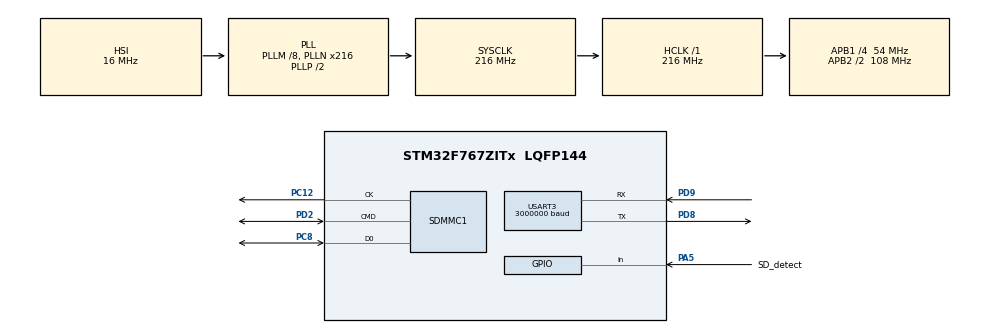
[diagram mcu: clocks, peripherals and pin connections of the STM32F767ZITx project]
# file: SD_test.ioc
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FATFS.BSP.number=1
FATFS0.BSP.STBoard=false
FATFS0.BSP.api=Unknown
FATFS0.BSP.i2caddr=0
FATFS0.BSP.instance=PA5
FATFS0.BSP.ip=GPIO
FATFS0.BSP.mode=Input
FATFS0.BSP.name=Detect_SDIO
FATFS0.BSP.solution=PA5
Mcu.Family=STM32F7
Mcu.Name=STM32F767ZITx
Mcu.Package=LQFP144
NVIC.PriorityGroup=NVIC_PRIORITYGROUP_4
NVIC.SDMMC1_IRQn=true\:0\:0\:false\:true\:true\:1\:true\:true
NVIC.USART3_IRQn=true\:0\:0\:false\:true\:true\:2\:true\:true
PA5.GPIO_Label=SD_detect
PA5.Signal=GPIO_Input
PC12.Mode=SD_1_bit
PC12.Signal=SDMMC1_CK
PC8.Mode=SD_1_bit
PC8.Signal=SDMMC1_D0
PD2.Mode=SD_1_bit
PD2.Signal=SDMMC1_CMD
PD8.Mode=Asynchronous
PD8.Signal=USART3_TX
PD9.Mode=Asynchronous
PD9.Signal=USART3_RX
ProjectManager.HeapSize=0x200
ProjectManager.StackSize=0x400
ProjectManager.TargetToolchain=Makefile
RCC.AHBFreq_Value=216000000
RCC.APB1CLKDivider=RCC_HCLK_DIV4
RCC.APB1Freq_Value=54000000
RCC.APB1TimFreq_Value=108000000
RCC.APB2CLKDivider=RCC_HCLK_DIV2
RCC.APB2Freq_Value=108000000
RCC.APB2TimFreq_Value=216000000
RCC.CortexFreq_Value=216000000
RCC.HCLKFreq_Value=216000000
RCC.HSE_VALUE=25000000
RCC.HSI_VALUE=16000000
RCC.LSE_VALUE=32768
RCC.PLLM=8
RCC.PLLN=216
RCC.PLLQ=9
RCC.SDMMCClockSelection=RCC_SDMMC1CLKSOURCE_CLK48
RCC.SYSCLKFreq_VALUE=216000000
RCC.SYSCLKSource=RCC_SYSCLKSOURCE_PLLCLK
RCC.USBFreq_Value=48000000
RCC.VCOOutputFreq_Value=432000000
SDMMC1.ClockDiv=1
USART3.BaudRate=3000000
USART3.VirtualMode-Asynchronous=VM_ASYNC
VP_FATFS_VS_SDIO.Mode=SDIO
board=custom

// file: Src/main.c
/* USER CODE BEGIN Header */
/**
  ******************************************************************************
  * @file           : main.c
  * @brief          : Main program body
  ******************************************************************************
  * @attention
  *
  * <h2><center>&copy; Copyright (c) 2019 STMicroelectronics.
  * All rights reserved.</center></h2>
  *
  * This software component is licensed by ST under Ultimate Liberty license
  * SLA0044, the "License"; You may not use this file except in compliance with
  * the License. You may obtain a copy of the License at:
  *                             www.st.com/SLA0044
  *
  ******************************************************************************
  */
/* USER CODE END Header */

#include "main.h"
#include "fatfs.h"

/* USER CODE BEGIN Includes */
#include "string.h"
#include "stdio.h"
/* USER CODE END Includes */

SD_HandleTypeDef hsd1;

UART_HandleTypeDef huart3;

/* USER CODE BEGIN PV */
#define MAX_DEBUG_RX_L 20
#define MAX_DEBUG_TX_L 500
char debug_rx[MAX_DEBUG_RX_L], debug_tx[MAX_DEBUG_TX_L];
uint8_t debug_rx_count = 0, debug_msg_arrived = 0;
uint8_t imu_connected = 0, its0_connected = 0, its1_connected = 0, its2_connected = 0, its3_connected = 0;
enum state_t{STATE_INIT, STATE_IDLE, STATE_CALIB, STATE_SETUP, STATE_RUN}current_state;
FIL loggingFile;
FIL log_names_f;

TCHAR message[256];
char filename[256] = "abcabc.txt";
char filename_1[256]="log_names.txt";
char txt[1000];

int max_files = 100;
int byteswritten;
int mount_ok = 0;
int msg_counter = 0;
int msg_index = 0;

char buffer[256]="Starting Antenna Logging\r\n";
int bytes_read;

char *pointer;
char log_names[356];

FRESULT res_open;
FRESULT res_mount;

int successfull_opening = 0;
/* USER CODE END PV */

void SystemClock_Config(void);
static void MX_GPIO_Init(void);
static void MX_SDMMC1_SD_Init(void);
static void MX_USART3_UART_Init(void);
static void MX_NVIC_Init(void);
/* USER CODE BEGIN PFP */
void init_sd();
void debug_operations();
/* USER CODE END PFP */

int main(void)
{

  /* MCU Configuration--------------------------------------------------------*/

  /* Reset of all peripherals, Initializes the Flash interface and the Systick. */
  HAL_Init();

  /* Configure the system clock */
  SystemClock_Config();

  /* Initialize all configured peripherals */
  MX_GPIO_Init();
  MX_SDMMC1_SD_Init();
  MX_USART3_UART_Init();
  MX_FATFS_Init();

  /* Initialize interrupts */
  MX_NVIC_Init();
  /* USER CODE BEGIN 2 */
  HAL_UART_Transmit(&huart3,(uint8_t*)"Program started\r\n",strlen("Program started\r\n"),10);
  res_mount = f_mount(&SDFatFS, (TCHAR const*)SDPath, 0);
	HAL_Delay(10);

	while(successfull_opening != 1){
		init_sd();
	}
  HAL_UART_Receive_IT(&huart3,(uint8_t*) &debug_rx[debug_rx_count], 1); //activate rx interrupt for debug
  current_state = STATE_INIT;
  /* USER CODE END 2 */

  /* Infinite loop */
  /* USER CODE BEGIN WHILE */
  //----------------------------------------------------------------------------------------------------------------------------------------------------------
  //----------------------------------------------------------------------------------------------------------------------------------------------------------
  //----------------------------------------------------------------------------------------------------------------------------------------------------------
  while (1)
  {
    if(debug_msg_arrived == 1){
      debug_msg_arrived = 0; // reset flag
      debug_operations();
    }
    /* USER CODE END WHILE */

  }
}

void SystemClock_Config(void)
{
  RCC_OscInitTypeDef RCC_OscInitStruct = {0};
  RCC_ClkInitTypeDef RCC_ClkInitStruct = {0};
  RCC_PeriphCLKInitTypeDef PeriphClkInitStruct = {0};

  /** Configure the main internal regulator output voltage
  */
  __HAL_RCC_PWR_CLK_ENABLE();
  __HAL_PWR_VOLTAGESCALING_CONFIG(PWR_REGULATOR_VOLTAGE_SCALE1);
  /** Initializes the CPU, AHB and APB busses clocks
  */
  RCC_OscInitStruct.OscillatorType = RCC_OSCILLATORTYPE_HSI;
  RCC_OscInitStruct.HSIState = RCC_HSI_ON;
  RCC_OscInitStruct.HSICalibrationValue = RCC_HSICALIBRATION_DEFAULT;
  RCC_OscInitStruct.PLL.PLLState = RCC_PLL_ON;
  RCC_OscInitStruct.PLL.PLLSource = RCC_PLLSOURCE_HSI;
  RCC_OscInitStruct.PLL.PLLM = 8;
  RCC_OscInitStruct.PLL.PLLN = 216;
  RCC_OscInitStruct.PLL.PLLP = RCC_PLLP_DIV2;
  RCC_OscInitStruct.PLL.PLLQ = 9;
  if (HAL_RCC_OscConfig(&RCC_OscInitStruct) != HAL_OK)
  {
    Error_Handler();
  }
  /** Activate the Over-Drive mode
  */
  if (HAL_PWREx_EnableOverDrive() != HAL_OK)
  {
    Error_Handler();
  }
  /** Initializes the CPU, AHB and APB busses clocks
  */
  RCC_ClkInitStruct.ClockType = RCC_CLOCKTYPE_HCLK|RCC_CLOCKTYPE_SYSCLK
                              |RCC_CLOCKTYPE_PCLK1|RCC_CLOCKTYPE_PCLK2;
  RCC_ClkInitStruct.SYSCLKSource = RCC_SYSCLKSOURCE_PLLCLK;
  RCC_ClkInitStruct.AHBCLKDivider = RCC_SYSCLK_DIV1;
  RCC_ClkInitStruct.APB1CLKDivider = RCC_HCLK_DIV4;
  RCC_ClkInitStruct.APB2CLKDivider = RCC_HCLK_DIV2;

  if (HAL_RCC_ClockConfig(&RCC_ClkInitStruct, FLASH_LATENCY_7) != HAL_OK)
  {
    Error_Handler();
  }
  PeriphClkInitStruct.PeriphClockSelection = RCC_PERIPHCLK_USART3|RCC_PERIPHCLK_SDMMC1
                              |RCC_PERIPHCLK_CLK48;
  PeriphClkInitStruct.Usart3ClockSelection = RCC_USART3CLKSOURCE_PCLK1;
  PeriphClkInitStruct.Clk48ClockSelection = RCC_CLK48SOURCE_PLL;
  PeriphClkInitStruct.Sdmmc1ClockSelection = RCC_SDMMC1CLKSOURCE_CLK48;
  if (HAL_RCCEx_PeriphCLKConfig(&PeriphClkInitStruct) != HAL_OK)
  {
    Error_Handler();
  }
}

/**
  * @brief NVIC Configuration.
  * @retval None
  */
static void MX_NVIC_Init(void)
{
  /* SDMMC1_IRQn interrupt configuration */
  HAL_NVIC_SetPriority(SDMMC1_IRQn, 0, 0);
  HAL_NVIC_EnableIRQ(SDMMC1_IRQn);
  /* USART3_IRQn interrupt configuration */
  HAL_NVIC_SetPriority(USART3_IRQn, 0, 0);
  HAL_NVIC_EnableIRQ(USART3_IRQn);
}

static void MX_SDMMC1_SD_Init(void)
{

  hsd1.Instance = SDMMC1;
  hsd1.Init.ClockEdge = SDMMC_CLOCK_EDGE_RISING;
  hsd1.Init.ClockBypass = SDMMC_CLOCK_BYPASS_DISABLE;
  hsd1.Init.ClockPowerSave = SDMMC_CLOCK_POWER_SAVE_DISABLE;
  hsd1.Init.BusWide = SDMMC_BUS_WIDE_1B;
  hsd1.Init.HardwareFlowControl = SDMMC_HARDWARE_FLOW_CONTROL_DISABLE;
  hsd1.Init.ClockDiv = 1;

}

static void MX_USART3_UART_Init(void)
{

  huart3.Instance = USART3;
  huart3.Init.BaudRate = 2250000;
  huart3.Init.WordLength = UART_WORDLENGTH_8B;
  huart3.Init.StopBits = UART_STOPBITS_1;
  huart3.Init.Parity = UART_PARITY_NONE;
  huart3.Init.Mode = UART_MODE_TX_RX;
  huart3.Init.HwFlowCtl = UART_HWCONTROL_NONE;
  huart3.Init.OverSampling = UART_OVERSAMPLING_16;
  huart3.Init.OneBitSampling = UART_ONE_BIT_SAMPLE_DISABLE;
  huart3.AdvancedInit.AdvFeatureInit = UART_ADVFEATURE_NO_INIT;
  if (HAL_UART_Init(&huart3) != HAL_OK)
  {
    Error_Handler();
  }

}

static void MX_GPIO_Init(void)
{
  GPIO_InitTypeDef GPIO_InitStruct = {0};

  /* GPIO Ports Clock Enable */
  __HAL_RCC_GPIOA_CLK_ENABLE();
  __HAL_RCC_GPIOD_CLK_ENABLE();
  __HAL_RCC_GPIOC_CLK_ENABLE();

  /*Configure GPIO pin : SD_detect_Pin */
  GPIO_InitStruct.Pin = SD_detect_Pin;
  GPIO_InitStruct.Mode = GPIO_MODE_INPUT;
  GPIO_InitStruct.Pull = GPIO_NOPULL;
  HAL_GPIO_Init(SD_detect_GPIO_Port, &GPIO_InitStruct);

}

/* USER CODE BEGIN 4 */
void init_sd(){
	if(res_mount != FR_OK){
		HAL_UART_Transmit(&huart3,(uint8_t*)"---mounting---\r\n",strlen("---mounting---\r\n"), 10);
		res_mount = f_mount(&SDFatFS, (TCHAR const*)SDPath, 0);
	}
	if (res_mount == FR_OK) {
		sprintf(filename_1, "name.txt");
		res_open=f_open(&log_names_f, (TCHAR const*)&filename_1, FA_OPEN_ALWAYS | FA_READ | FA_WRITE );
		f_read(&log_names_f, log_names, 256, (void*)&bytes_read);

		HAL_UART_Transmit(&huart3,(uint8_t*)"mounted, opened\r\n",strlen("mounted, opened\r\n"),10);

		sprintf(txt, "%s\r\n", log_names);
		HAL_UART_Transmit(&huart3,(uint8_t*)txt,strlen(txt),10);

		char name[256];

		f_close(&log_names_f);
		f_open(&log_names_f, (TCHAR const*)&filename_1, FA_OPEN_APPEND | FA_OPEN_ALWAYS | FA_READ | FA_WRITE );

		for(int i = 0; i < max_files; i++){

			sprintf(name, "log_%d ", i);

			pointer = strstr(log_names, name);

			if(i == max_files){
				sprintf(filename,"default.txt");

				f_open(&loggingFile, (TCHAR const*)&filename, FA_OPEN_APPEND | FA_OPEN_ALWAYS | FA_READ | FA_WRITE );
				f_write(&loggingFile, buffer, strlen(buffer), (void*)&byteswritten);
				f_close(&loggingFile);
				f_open(&loggingFile, (TCHAR const*)&filename, FA_OPEN_APPEND | FA_OPEN_ALWAYS | FA_READ | FA_WRITE );

				HAL_UART_Transmit(&huart3,(uint8_t*)"created -> default.txt\r\n",strlen("created -> default.txt\r\n"),10);

				successfull_opening = 1;

				break;
			}

			if(i == 0 && pointer == NULL){

				sprintf(filename, "log_0 \t\r\n");

				f_write(&log_names_f, filename, strlen(filename), (void*)&byteswritten);
				f_close(&log_names_f);

				sprintf(filename, "Log_0.txt");

				f_open(&loggingFile, (TCHAR const*)&filename, FA_OPEN_APPEND | FA_OPEN_ALWAYS | FA_READ | FA_WRITE );
				f_write(&loggingFile, buffer, strlen(buffer), (void*)&byteswritten);
				f_close(&loggingFile);
				f_open(&loggingFile, (TCHAR const*)&filename, FA_OPEN_APPEND | FA_OPEN_ALWAYS | FA_READ | FA_WRITE );

				HAL_UART_Transmit(&huart3,(uint8_t*)"\r\ncreated -> Log_0\r\n",strlen("\r\ncreated -> Log_0\r\n"),10);

				successfull_opening = 1;

				break;
			}
			if(pointer == NULL){
				sprintf(filename, "log_%d \t\r\n", i);

				f_write(&log_names_f, filename, strlen(filename), (void*)&byteswritten);
				f_close(&log_names_f);

				sprintf(filename, "Log_%d.txt", i);

				f_open(&loggingFile, (TCHAR const*)&filename, FA_OPEN_APPEND | FA_OPEN_ALWAYS | FA_READ | FA_WRITE );
				f_write(&loggingFile, buffer, strlen(buffer), (void*)&byteswritten);
				f_close(&loggingFile);
				f_open(&loggingFile, (TCHAR const*)&filename, FA_OPEN_APPEND | FA_OPEN_ALWAYS | FA_READ | FA_WRITE );

				HAL_UART_Transmit(&huart3,(uint8_t*)"\r\ncreated -> ",strlen("\r\ncreated -> "),10);
				HAL_UART_Transmit(&huart3,(uint8_t*) filename, strlen(filename), 10);
				HAL_UART_Transmit(&huart3,(uint8_t*) "\r\n", strlen("\r\n"),10);

				successfull_opening = 1;

				break;
			}
		}

		mount_ok = 1;
		HAL_UART_Transmit(&huart3,(uint8_t*)"files closed\r\n",strlen("files closed\r\n"),10);
	}else {
		mount_ok = 0;
	}
}

void HAL_UART_RxCpltCallback(UART_HandleTypeDef *huart){
	if(huart == &huart3){
		if((debug_rx[debug_rx_count] == '\r') | (debug_rx[debug_rx_count] == '\n')){
			debug_msg_arrived = 1; //set flag
			debug_rx[debug_rx_count] = 0; //set end of the string
			debug_rx_count = 0; //reset counter
		}else{
			if(debug_rx_count == MAX_DEBUG_RX_L){
				//overflow
				debug_rx_count = 0; //reset counter for overflow
			}else{
				HAL_UART_Transmit(&huart3, (uint8_t*)&debug_rx[debug_rx_count], 1, 10); //retransmit char
				debug_rx_count++;
			}
		}
		HAL_UART_Receive_IT(&huart3,(uint8_t*) &debug_rx[debug_rx_count], 1); //activate rx interrupt for debug
	}
}
void debug_operations(){
	if(strcmp(debug_rx,"help") == 0){
		sprintf(debug_tx,
				"\r\n***********ECU HELP***********\r\n"
				"Avaiable msg are:\r\n"
				"\t-- status -> print ECU status\r\n"
				"\t-- time -> print activity time\r\n"
				"\t-- codev  -> print code version\r\n");
		HAL_UART_Transmit(&huart3,(uint8_t*)debug_tx, strlen(debug_tx), 100);
	}/*else if(strcmp(debug_rx,"codev") == 0){
		HAL_UART_Transmit(&huart3,(uint8_t*)code_version, strlen(code_version), 100);
	}else if(strcmp(debug_rx,"time") == 0){
		sprintf(debug_tx,"\r\nTime: %d hours : %d min : %d sec : %d dec\r\n",count_hour,count_min, count_sec, count_dec );
		HAL_UART_Transmit(&huart3,(uint8_t*)debug_tx, strlen(debug_tx), 100);
	}else if(strcmp(debug_rx,"status") == 0){
		sprintf(debug_tx,
				"\r\n\ntype of status:\r\n"
				"\t 0 = OK\r\n"
				"\t 1 = ERROR\r\n"
				"\t 2 = BUSY\r\n"
				"\t 3 = TIMEOUT\r\n\n"
				"CAN1 status:\r\n"
				"\tCAN1 config status: %d \r\n"
				"\tCAN1 notification status: %d\r\n"
				"\tCAN1 start status: %d\r\n"
				,can1.configFilter_status,can1.activateNotif_status,can1.canStart_status);
		HAL_UART_Transmit(&huart3,(uint8_t*)debug_tx, strlen(debug_tx), 100);
		sprintf(debug_tx,
				"CAN3 status:\r\n"
				"\tCAN3 config status: %d \r\n"
				"\tCAN3 notification status: %d\r\n"
				"\tCAN3 start status: %d\r\n"
				,can3.configFilter_status,can3.activateNotif_status,can3.canStart_status);
		HAL_UART_Transmit(&huart3,(uint8_t*)debug_tx, strlen(debug_tx), 100);
		if(current_state == STATE_INIT){
			HAL_UART_Transmit(&huart3,(uint8_t*)"\r\nCurrent state: STATE_INIT\r\n", strlen("\r\nCurrent state: STATE_INIT\r\n"), 100);
		}else if(current_state == STATE_IDLE){
			HAL_UART_Transmit(&huart3,(uint8_t*)"\r\nCurrent state: STATE_IDLE\r\n", strlen("\r\nCurrent state: STATE_IDLE\r\n"), 100);
		}else if(current_state == STATE_CALIB){
			HAL_UART_Transmit(&huart3,(uint8_t*)"\r\nCurrent state: STATE_CALIB\r\n", strlen("\r\nCurrent state: STATE_CALIB\r\n"), 100);
		}else if(current_state == STATE_SETUP){
			HAL_UART_Transmit(&huart3,(uint8_t*)"\r\nCurrent state: STATE_SETUP\r\n", strlen("\r\nCurrent state: STATE_SETUP\r\n"), 100);
		}else if(current_state == STATE_RUN){
			HAL_UART_Transmit(&huart3,(uint8_t*)"\r\nCurrent state: STATE_RUN\r\n", strlen("\r\nCurrent state: STATE_RUN\r\n"), 100);
		}
		sprintf(debug_tx,
				"\r\n"
				"Device connected : (0 = no, 1 = yes)\r\n"
				"\t IMU -> %d\r\n"
				"\t ITS0 -> %d\r\n"
				"\t ITS1 -> %d\r\n"
				"\t ITS2 -> %d\r\n"
				"\t ITS3 -> %d\r\n"
				,imu_connected, its0_connected, its1_connected, its2_connected, its3_connected);
		HAL_UART_Transmit(&huart3,(uint8_t*)debug_tx, strlen(debug_tx), 100);
	}*/else if(strcmp(debug_rx,"gay") == 0){
		sprintf(debug_tx,
				"\r\n"
				"          $\r\n"
				"        $   $\r\n"
				"       $     $\r\n"
				"       $$$$$$$\r\n"
				"       $$$$$$$\r\n"
				"       $$$$$$$\r\n"
				"       $$$$$$$\r\n"
				"       $$$$$$$\r\n"
				"       $$$$$$$\r\n"
				"       $$$$$$$\r\n"
				"  $$$$$$     $$$$$$\r\n"
				" $$$$$$$$   $$$$$$$$\r\n"
				"$$$$$$$$$$$$$$$$$$$$\r\n"
				" $$$$$$$$   $$$$$$$$\r\n"
				"  $$$$$$     $$$$$$\r\n");
		HAL_UART_Transmit(&huart3,(uint8_t*)debug_tx, strlen(debug_tx), 100);
	}else{
		sprintf(debug_tx,"\r\nERROR : msg %s doesn't exist\r\n",debug_rx);
		HAL_UART_Transmit(&huart3,(uint8_t*)debug_tx, strlen(debug_tx), 100);
	}
}

/* USER CODE END 4 */

void Error_Handler(void)
{
}

/************************ (C) COPYRIGHT STMicroelectronics *****END OF FILE****/
